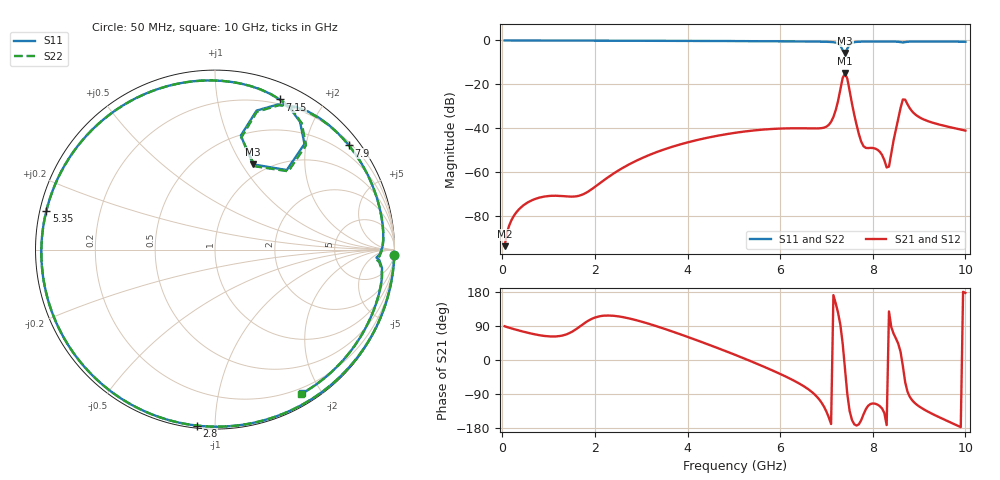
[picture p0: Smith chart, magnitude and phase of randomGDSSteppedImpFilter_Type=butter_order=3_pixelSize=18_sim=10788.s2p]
! freq	dB(S11)	phase(S11)	dB(S12)	phase(S12)
!  dB(S21)	phase(S21)	dB(S22)	phase(S22)
!S-par simulation data
#  GHz  S  DB  R 50
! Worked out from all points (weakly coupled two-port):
!   200 points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, 50 MHz to 10 GHz, reference 50 ohm
!   highest |S21| = -14.97 dB at 7.4 GHz (marker M1); lowest = -93.6 dB at 50 MHz (marker M2)
!   lowest |S11| = -5.7 dB at 7.4 GHz (marker M3), VSWR 3.17, Z = 43.1 + j56.2 ohm
!   |S11| at or under -10 dB: nowhere
!   |S22| runs from -5.8 to 0.0 dB; largest |S21 - S12| = 0
!   S11 on the Smith chart (normalised r, x): 50 MHz: 1, -65; 2.8 GHz: 0.01, -0.90; 5.35 GHz: 0.02, +0.11; 7.15 GHz: 0.15, +1.51; 7.9 GHz: 0.26, +2.90; 10 GHz: 0.13, -1.77
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0.05  -0.00 -1.8  -93.61 89.1  -93.61 89.1  -0.00 -1.8
0.8  -0.03 -27.7  -71.52 65.4  -71.52 65.4  -0.03 -27.7
1.75  -0.08 -60.2  -69.97 95.2  -69.97 95.2  -0.08 -60.2
2.8  -0.13 -95.9  -55.72 107.9  -55.72 107.9  -0.13 -96.0
3.4  -0.16 -116.7  -50.29 86.4  -50.29 86.4  -0.16 -116.8
5.05  -0.29 -179.8  -41.95 12.5  -41.95 12.5  -0.29 179.9
5.35  -0.32 167.0  -41.14 -2.3  -41.14 -2.3  -0.32 166.7
6  -0.39 135.8  -40.10 -36.8  -40.10 -36.8  -0.39 135.4
6.7  -0.49 97.4  -40.03 -86.0  -40.03 -86.0  -0.49 96.8
7  -0.60 78.3  -39.21 -136.4  -39.21 -136.4  -0.61 77.6
7.15  -0.81 66.7  -34.83 171.2  -34.83 171.2  -0.82 66.0
7.3  -2.26 49.7  -22.37 92.9  -22.37 92.9  -2.26 48.9
7.4  -5.67 65.9  -14.97 -24.5  -14.97 -24.5  -5.77 64.5
7.45  -3.73 77.2  -17.41 -89.7  -17.41 -89.7  -3.86 76.8
7.55  -1.09 66.5  -28.62 -158.1  -28.62 -158.1  -1.12 66.1
7.75  -0.54 48.0  -46.03 -158.8  -46.03 -158.8  -0.54 47.4
7.9  -0.48 37.8  -48.97 -120.7  -48.97 -120.7  -0.49 37.2
8.15  -0.47 22.9  -50.61 -121.5  -50.61 -121.5  -0.47 22.3
8.35  -0.49 11.8  -57.37 128.1  -57.37 128.1  -0.49 11.1
8.65  -0.91 -2.8  -26.85 -16.1  -26.85 -16.1  -0.92 -3.5
9.05  -0.48 -21.0  -35.45 -126.4  -35.45 -126.4  -0.48 -21.6
10  -0.56 -58.7  -41.02 177.1  -41.02 177.1  -0.57 -59.2
